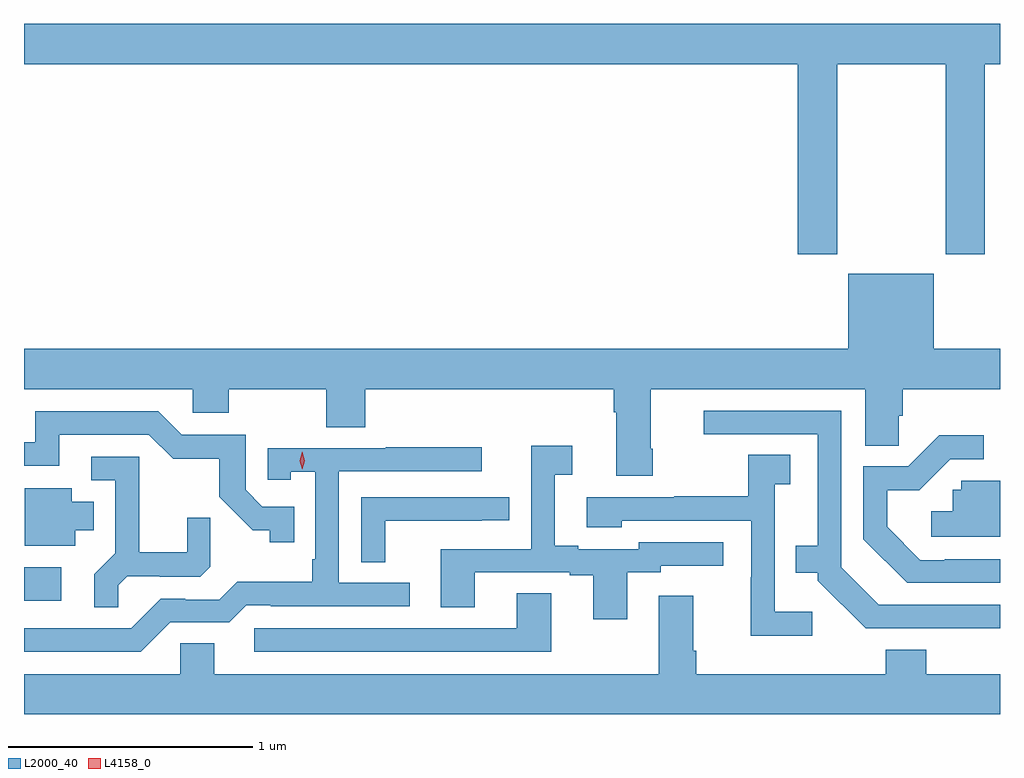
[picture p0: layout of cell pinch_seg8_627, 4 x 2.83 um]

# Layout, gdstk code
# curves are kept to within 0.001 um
import gdstk
lib = gdstk.Library(unit=1e-6, precision=1e-09)
def R(c, l, rs):  # rectangles x0, y0, x1, y1
    for r in rs: c.add(gdstk.rectangle(r[:2], r[2:], *l))
def P(c, l, *ps):  # polygons
    for p in ps: c.add(gdstk.Polygon(p, *l))
L2000_40 = (2000, 40)
L4158_0 = (4158, 0)

pinch_seg8_627 = lib.new_cell('pinch_seg8_627')
R(pinch_seg8_627, L2000_40, [(349.573,1114.301,349.726,1114.437)])
P(pinch_seg8_627, L2000_40, [(352.905,1116.5),(353.35,1116.5),(353.35,1115.721),(353.51,1115.721),(353.51,1116.5),(353.573,1116.5),(353.573,1116.664),(349.573,1116.664),(349.573,1116.5),(352.745,1116.5),(352.745,1115.721),(352.905,1115.721)],
  [(352.149,1114.924),(352.141,1114.924),(352.141,1115.168),(353.021,1115.168),(353.021,1114.936),(353.159,1114.936),(353.159,1115.058),(353.174,1115.058),(353.174,1115.168),(353.573,1115.168),(353.573,1115.332),(353.302,1115.332),(353.302,1115.641),(352.952,1115.641),(352.952,1115.332),(349.573,1115.332),(349.573,1115.168),(350.265,1115.168),(350.265,1115.07),(350.412,1115.07),(350.412,1115.168),(350.812,1115.168),(350.812,1115.011),(350.972,1115.011),(350.972,1115.168),(351.989,1115.168),(351.989,1115.072),(352.001,1115.072),(352.001,1114.812),(352.149,1114.812)],
  [(353.573,1114.284),(353.076,1114.284),(352.923,1114.437),(352.923,1115.079),(352.359,1115.079),(352.359,1114.983),(352.826,1114.983),(352.826,1114.525),(352.735,1114.525),(352.735,1114.415),(352.827,1114.415),(352.827,1114.383),(353.022,1114.188),(353.573,1114.187)],
  [(350.681,1114.686),(350.55,1114.686),(350.481,1114.755),(350.481,1114.98),(350.22,1114.98),(350.124,1115.076),(349.619,1115.076),(349.619,1114.95),(349.573,1114.95),(349.573,1114.854),(349.717,1114.854),(349.717,1114.98),(350.085,1114.98),(350.184,1114.882),(350.373,1114.882),(350.373,1114.726),(350.51,1114.589),(350.58,1114.589),(350.58,1114.539),(350.681,1114.539)],
  [(353.573,1114.47),(353.347,1114.47),(353.347,1114.467),(353.247,1114.467),(353.11,1114.604),(353.11,1114.754),(353.243,1114.754),(353.37,1114.881),(353.506,1114.881),(353.506,1114.979),(353.324,1114.979),(353.196,1114.851),(353.013,1114.851),(353.013,1114.553),(353.192,1114.374),(353.573,1114.374)],
  [(352.045,1114.416),(352.182,1114.416),(352.182,1114.443),(352.438,1114.443),(352.438,1114.539),(352.092,1114.539),(352.092,1114.512),(351.844,1114.512),(351.844,1114.525),(351.748,1114.525),(351.748,1114.816),(351.82,1114.816),(351.82,1114.936),(351.651,1114.936),(351.651,1114.512),(351.281,1114.512),(351.281,1114.273),(351.421,1114.273),(351.421,1114.416),(351.809,1114.416),(351.809,1114.404),(351.905,1114.404),(351.905,1114.224),(352.045,1114.224)],
  [(350.172,1114.212),(350.415,1114.212),(350.484,1114.281),(350.584,1114.281),(350.584,1114.278),(351.154,1114.278),(351.154,1114.374),(350.862,1114.374),(350.862,1114.83),(351.448,1114.83),(351.448,1114.929),(351.055,1114.929),(351.055,1114.926),(350.571,1114.926),(350.571,1114.797),(350.667,1114.797),(350.667,1114.829),(350.766,1114.829),(350.766,1114.471),(350.754,1114.471),(350.754,1114.378),(350.446,1114.378),(350.373,1114.305),(350.234,1114.305),(350.234,1114.308),(350.133,1114.308),(350.013,1114.188),(349.573,1114.188),(349.573,1114.092),(350.052,1114.092)],
  [(352.804,1114.255),(352.65,1114.255),(352.65,1114.777),(352.714,1114.777),(352.714,1114.898),(352.542,1114.898),(352.542,1114.728),(352.237,1114.728),(352.237,1114.725),(351.879,1114.725),(351.879,1114.601),(352.023,1114.601),(352.023,1114.629),(352.554,1114.629),(352.554,1114.397),(352.552,1114.397),(352.552,1114.157),(352.804,1114.157)],
  [(349.959,1114.364),(349.996,1114.401),(350.13,1114.401),(350.13,1114.398),(350.295,1114.398),(350.336,1114.439),(350.336,1114.641),(350.242,1114.641),(350.242,1114.498),(350.045,1114.498),(350.045,1114.89),(349.848,1114.89),(349.848,1114.794),(349.947,1114.794),(349.947,1114.495),(349.861,1114.409),(349.861,1114.273),(349.959,1114.273)],
  [(353.573,1114.791),(353.415,1114.791),(353.415,1114.755),(353.379,1114.755),(353.379,1114.666),(353.292,1114.666),(353.292,1114.563),(353.573,1114.563)],
  [(349.783,1114.589),(349.858,1114.589),(349.858,1114.705),(349.768,1114.705),(349.768,1114.762),(349.577,1114.762),(349.577,1114.526),(349.783,1114.526)],
  [(351.054,1114.629),(351.449,1114.629),(351.449,1114.63),(351.562,1114.63),(351.562,1114.725),(350.955,1114.725),(350.955,1114.459),(351.054,1114.459)],
  [(351.733,1114.331),(351.593,1114.331),(351.593,1114.188),(350.517,1114.188),(350.517,1114.092),(351.733,1114.092)],
  [(353.573,1114),(353.27,1114),(353.27,1114.099),(353.105,1114.099),(353.105,1114),(352.328,1114),(352.328,1114.096),(352.315,1114.096),(352.315,1114.321),(352.175,1114.321),(352.175,1114),(350.353,1114),(350.353,1114.127),(350.214,1114.127),(350.214,1114),(349.573,1114),(349.573,1113.836),(353.573,1113.836)])
P(pinch_seg8_627, L4158_0, [(350.713,1114.839),(350.713,1114.839),(350.703,1114.875),(350.713,1114.911),(350.713,1114.911),(350.713,1114.911),(350.723,1114.875),(350.713,1114.839)])

lib.write_gds('pinch_seg8_627.gds')
